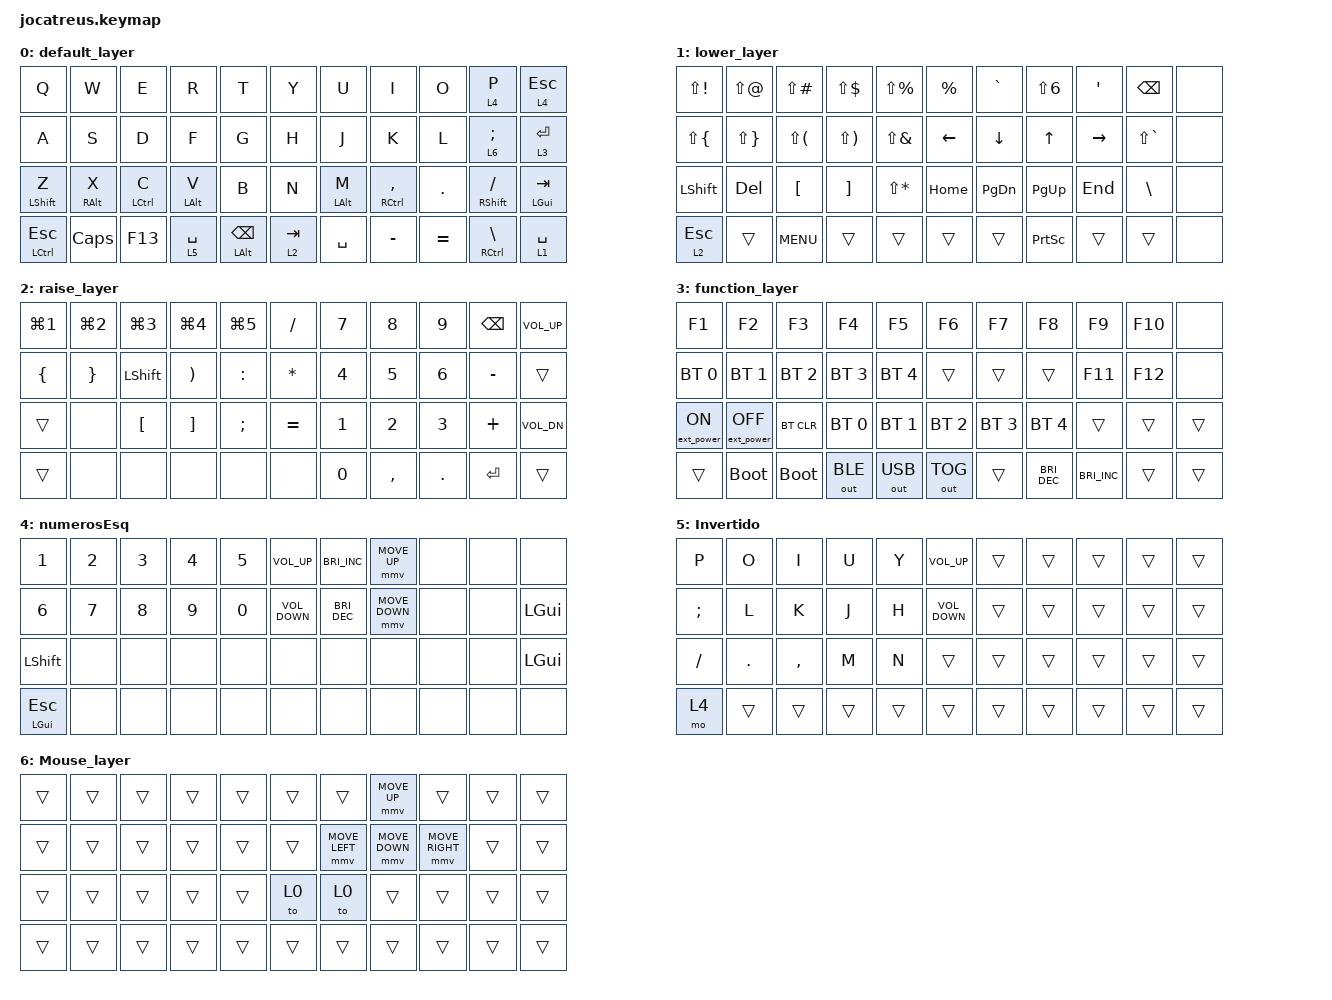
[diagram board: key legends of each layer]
/*
 * Copyright (c) 2022 The ZMK Contributors
 *
 * SPDX-License-Identifier: MIT
 */

#include <dt-bindings/zmk/mouse.h>
#include <behaviors.dtsi>
#include <dt-bindings/zmk/bt.h>
#include <dt-bindings/zmk/ext_power.h>
#include <dt-bindings/zmk/keys.h>
#include <dt-bindings/zmk/outputs.h>
#include <dt-bindings/zmk/pointing.h>

#define DEF 0
#define LWR 1
#define RSE 2
#define FNC 3

&mt { quick-tap-ms = <200>; };

&lt { quick-tap-ms = <200>; };

/ {
    behaviors {
        mtb: mtb {
            compatible = "zmk,behavior-hold-tap";
            label = "MTB";
            bindings = <&kp>, <&kp>;

            #binding-cells = <2>;
            tapping-term-ms = <200>;
            flavor = "balanced";
            retro-tap;
            quick-tap-ms = <200>;
        };

        mt_tp: mt_tp {
            compatible = "zmk,behavior-hold-tap";
            label = "MT_TP";
            bindings = <&kp>, <&kp>;

            #binding-cells = <2>;
            tapping-term-ms = <200>;
            flavor = "tap-preferred";
            quick-tap-ms = <200>;
        };

        mt_hp_hwu: mt_hp_hwu {
            compatible = "zmk,behavior-hold-tap";
            label = "MT_HP_HWU";
            bindings = <&kp>, <&kp>;

            #binding-cells = <2>;
            tapping-term-ms = <200>;
            quick-tap-ms = <200>;
            hold-while-undecided;
        };
    };

    keymap {
        compatible = "zmk,keymap";

        default_layer {
            bindings = <
&kp Q             &kp W            &kp E           &kp R          &kp T                   &kp Y      &kp U        &kp I             &kp O      &lt 4 P                &lt 4 ESCAPE
&kp A             &kp S            &kp D           &kp F          &kp G                   &kp H      &kp J        &kp K             &kp L      &lt 6 SEMICOLON        &lt 3 ENTER
&mt LEFT_SHIFT Z  &mt RIGHT_ALT X  &mt_tp LCTRL C  &mt_tp LALT V  &kp B                   &kp N      &mtb LALT M  &mtb RCTRL COMMA  &kp DOT    &mt RIGHT_SHIFT SLASH  &mt_hp_hwu LGUI TAB
&mt LCTRL ESC     &kp CAPS         &kp F13         &lt 5 SPACE    &mt LEFT_ALT BACKSPACE  &lt 2 TAB  &kp SPACE    &kp MINUS         &kp EQUAL  &mt RCTRL BACKSLASH    &lt 1 SPACE
            >;
        };

        lower_layer {
            bindings = <
&kp LS(EXCL)    &kp LS(AT)    &kp LS(POUND)  &kp LS(DLLR)  &kp LS(PRCNT)  &kp PRCNT       &kp GRAVE  &kp LS(NUMBER_6)  &kp SQT    &kp BACKSPACE  &none
&kp LS(LBRC)    &kp LS(RBRC)  &kp LS(LPAR)   &kp LS(RPAR)  &kp LS(AMPS)   &kp LEFT_ARROW  &kp DOWN   &kp UP_ARROW      &kp RIGHT  &kp LS(GRAVE)  &none
&kp LEFT_SHIFT  &kp DEL       &kp LBKT       &kp RBKT      &kp LS(STAR)   &kp HOME        &kp PG_DN  &kp PG_UP         &kp END    &kp BACKSLASH  &none
&lt 2 ESC       &trans        &kp K_MENU     &trans        &trans         &trans          &trans     &kp PRINTSCREEN   &trans     &trans         &none
            >;
        };

        raise_layer {
            bindings = <
&kp LG(NUMBER_1)  &kp LG(NUMBER_2)  &kp LG(NUMBER_3)  &kp LG(NUMBER_4)       &kp LG(N5)  &kp FSLH   &kp N7  &kp N8     &kp N9   &kp BSPC   &kp C_VOL_UP
&kp LEFT_BRACE    &kp RIGHT_BRACE   &kp LSHFT         &kp RIGHT_PARENTHESIS  &kp COLON   &kp STAR   &kp N4  &kp N5     &kp N6   &kp MINUS  &trans
&trans            &none             &kp LBKT          &kp RBKT               &kp SEMI    &kp EQUAL  &kp N1  &kp N2     &kp N3   &kp PLUS   &kp C_VOL_DN
&trans            &none             &none             &none                  &none       &none      &kp N0  &kp COMMA  &kp DOT  &kp ENTER  &trans
            >;
        };

        function_layer {
            bindings = <
&kp F1            &kp F2             &kp F3        &kp F4        &kp F5        &kp F6        &kp F7        &kp F8                &kp F9                &kp F10  &none
&bt BT_SEL 0      &bt BT_SEL 1       &bt BT_SEL 2  &bt BT_SEL 3  &bt BT_SEL 4  &trans        &trans        &trans                &kp F11               &kp F12  &none
&ext_power EP_ON  &ext_power EP_OFF  &bt BT_CLR    &bt BT_SEL 0  &bt BT_SEL 1  &bt BT_SEL 2  &bt BT_SEL 3  &bt BT_SEL 4          &trans                &trans   &trans
&trans            &bootloader        &bootloader   &out OUT_BLE  &out OUT_USB  &out OUT_TOG  &trans        &kp C_BRIGHTNESS_DEC  &kp C_BRIGHTNESS_INC  &trans   &trans
            >;
        };

        numerosEsq {
            bindings = <
&kp N1           &kp N2  &kp N3  &kp N4  &kp N5  &kp K_VOLUME_UP    &kp C_BRIGHTNESS_INC  &mmv MOVE_UP    &none  &none  &none
&kp N6           &kp N7  &kp N8  &kp N9  &kp N0  &kp K_VOLUME_DOWN  &kp C_BRIGHTNESS_DEC  &mmv MOVE_DOWN  &none  &none  &kp LEFT_GUI
&kp LEFT_SHIFT   &none   &none   &none   &none   &none              &none                 &none           &none  &none  &kp LGUI
&mt LGUI ESCAPE  &none   &none   &none   &none   &none              &none                 &none           &none  &none  &none
            >;
        };

        Invertido {
            bindings = <
&kp P     &kp O    &kp I      &kp U   &kp Y   &kp K_VOLUME_UP    &trans  &trans  &trans  &trans  &trans
&kp SEMI  &kp L    &kp K      &kp J   &kp H   &kp K_VOLUME_DOWN  &trans  &trans  &trans  &trans  &trans
&kp FSLH  &kp DOT  &kp COMMA  &kp M   &kp N   &trans             &trans  &trans  &trans  &trans  &trans
&mo 4     &trans   &trans     &trans  &trans  &trans             &trans  &trans  &trans  &trans  &trans
            >;
        };

        Mouse_layer {
            bindings = <
&trans  &trans  &trans  &trans  &trans  &trans  &trans          &mmv MOVE_UP    &trans           &trans  &trans
&trans  &trans  &trans  &trans  &trans  &trans  &mmv MOVE_LEFT  &mmv MOVE_DOWN  &mmv MOVE_RIGHT  &trans  &trans
&trans  &trans  &trans  &trans  &trans  &to 0   &to 0           &trans          &trans           &trans  &trans
&trans  &trans  &trans  &trans  &trans  &trans  &trans          &trans          &trans           &trans  &trans
            >;
        };
    };
};
